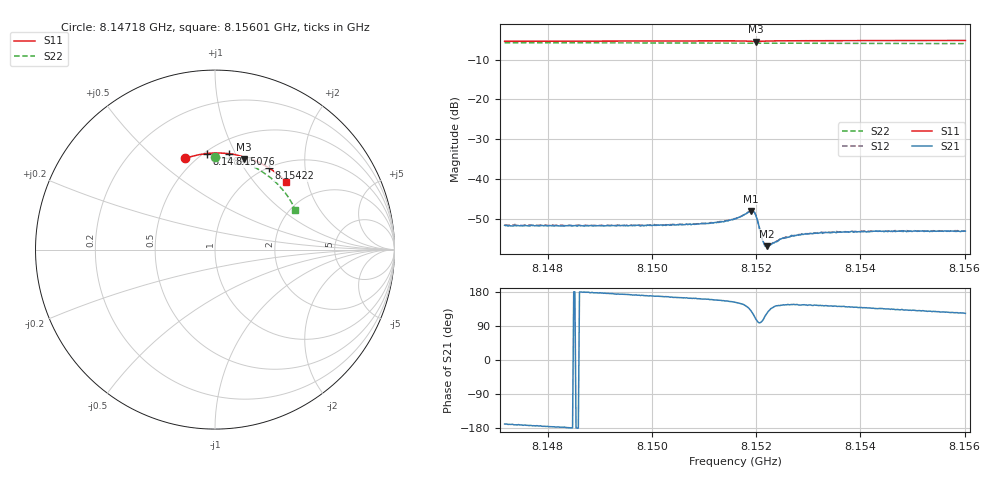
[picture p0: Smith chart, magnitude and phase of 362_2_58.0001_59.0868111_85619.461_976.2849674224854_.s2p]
#  HZ  S  RI  R  50.00
! Rohde & Schwarz Vector Network Analyzer
! Rohde-Schwarz,ZNB20-2Port,1311601062101988,3.16
! Created: UTC 3/21/2024, 1:06:27 AM
! freq[Hz]  re:S11  im:S11  re:S21  im:S21  re:S12  im:S12  re:S22  im:S22
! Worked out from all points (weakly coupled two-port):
!   401 points, 8.14718 GHz to 8.15601 GHz, reference 50 ohm
!   highest |S21| = -47.91 dB at 8.1519 GHz (marker M1); lowest = -56.7 dB at 8.15221 GHz (marker M2)
!   lowest |S11| = -5.5 dB at 8.15199 GHz (marker M3), VSWR 3.26, Z = 37.4 + j52.6 ohm
!   |S11| at or under -10 dB: nowhere
!   |S22| runs from -6.0 to -5.8 dB; largest |S21 - S12| = 0.00012
!   S11 on the Smith chart (normalised r, x): 8.14718 GHz: 0.44, +0.63; 8.14897 GHz: 0.52, +0.78; 8.15076 GHz: 0.63, +0.94; 8.15422 GHz: 1.01, +1.31; 8.15601 GHz: 1.38, +1.49
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8.147177e9  -0.1658 0.5076  -0.0026 -0.00051  -0.00264 -0.000464  0.000973 0.5132
8.148657e9  -0.0657 0.5326  -0.00263 3.72e-05  -0.00265 7.66e-05  0.097 0.5022
8.148966e9  -0.0444 0.5354  -0.00262 0.000141  -0.00264 0.000173  0.1165 0.4976
8.150137e9  0.037 0.538  -0.00261 0.000549  -0.00261 0.000591  0.188 0.4734
8.150756e9  0.0801 0.5342  -0.00258 0.000793  -0.00263 0.000863  0.224 0.4568
8.15122e9  0.1125 0.529  -0.00269 0.00106  -0.00267 0.00112  0.2498 0.4422
8.151595e9  0.1391 0.5225  -0.00283 0.00148  -0.00285 0.00152  0.2702 0.4293
8.151904e9  0.1602 0.5096  -0.00255 0.00311  -0.00252 0.00315  0.2862 0.4179
8.151949e9  0.1607 0.5067  -0.00197 0.00343  -0.00189 0.00345  0.2883 0.4162
8.151993e9  0.1598 0.5055  -0.00112 0.00338  -0.00108 0.00343  0.2903 0.4147
8.152037e9  0.1593 0.5065  -0.000495 0.00282  -0.00048 0.00285  0.2926 0.413
8.152125e9  0.1636 0.5103  -0.000424 0.00166  -0.000399 0.00169  0.2971 0.41
8.152169e9  0.1673 0.5111  -0.000629 0.00132  -0.000584 0.00137  0.2993 0.4083
8.152214e9  0.171 0.5112  -0.000827 0.0012  -0.000819 0.00125  0.3017 0.4066
8.152479e9  0.1913 0.5071  -0.00147 0.00104  -0.00145 0.00107  0.3148 0.3961
8.152611e9  0.2003 0.5041  -0.00158 0.00103  -0.00158 0.0011  0.3212 0.3906
8.152722e9  0.2079 0.5015  -0.00163 0.00107  -0.00163 0.00112  0.3265 0.386
8.153075e9  0.231 0.492  -0.00168 0.00122  -0.00174 0.00125  0.3429 0.3708
8.153517e9  0.2589 0.4788  -0.00172 0.00132  -0.00174 0.00135  0.3624 0.3508
8.154224e9  0.3015 0.4544  -0.00161 0.00153  -0.00164 0.00154  0.3908 0.3167
8.154555e9  0.3204 0.4418  -0.00158 0.00161  -0.00158 0.00157  0.403 0.3
8.156013e9  0.397 0.3771  -0.00123 0.00189  -0.00124 0.00187  0.4482 0.2212
